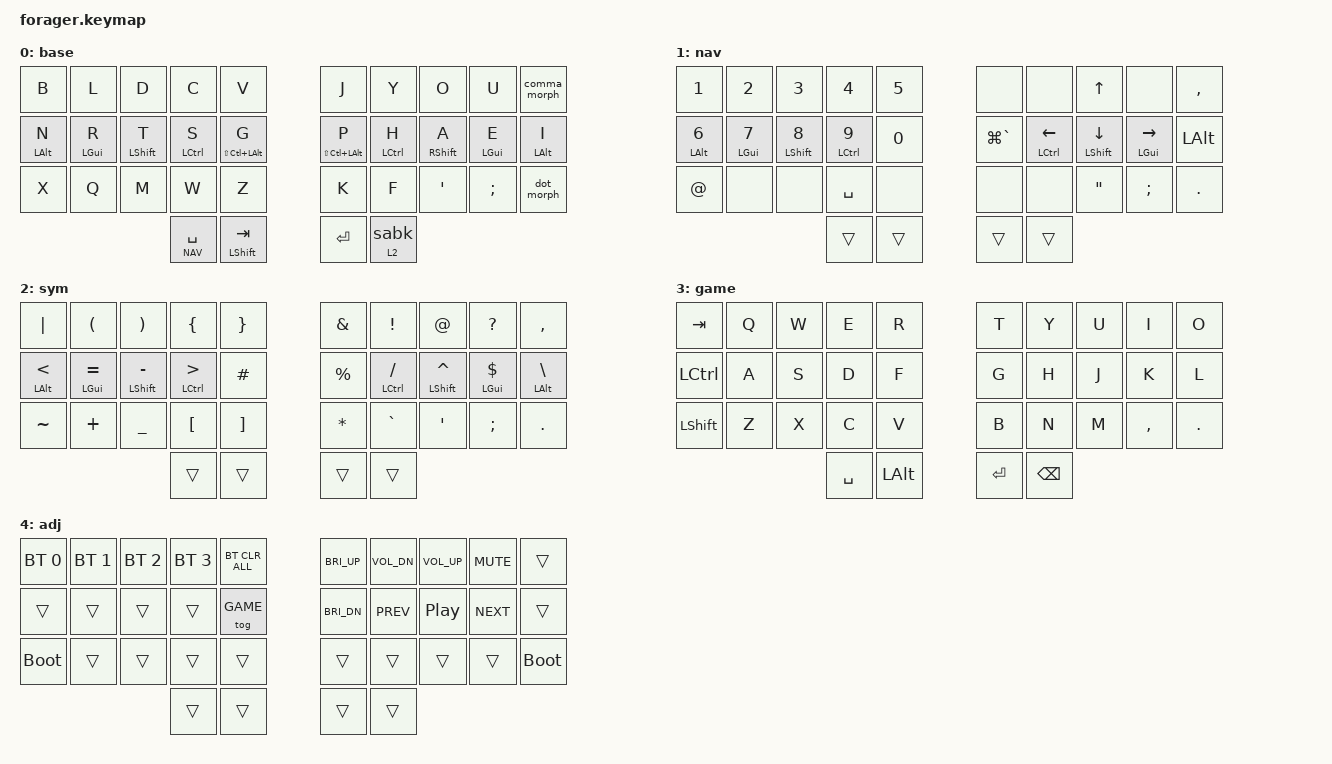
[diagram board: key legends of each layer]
#include <behaviors.dtsi>
#include <dt-bindings/zmk/keys.h>
#include <dt-bindings/zmk/bt.h>
#include <dt-bindings/zmk/outputs.h>

#define BASE 0
#define NAV  1
#define SYM  2
#define GAME 3
#define ADJ  4

#define AS(keycode) &as LS(keycode) keycode     // Autoshift Macro
#define MEH LS(LC(LALT))

/ {
    behaviors {
        as: auto_shift {
            compatible = "zmk,behavior-hold-tap";
            #binding-cells = <2>;
            tapping-term-ms = <250>;
            require-prior-idle-ms = <100>;
            flavor = "tap-preferred";
            bindings = <&kp>, <&kp>;
        };
        ht: hold_tap {
            compatible = "zmk,behavior-hold-tap";
            #binding-cells = <2>;
            tapping-term-ms = <180>;
            quick-tap-ms = <175>;
            require-prior-idle-ms = <150>;
            flavor = "balanced";
            bindings = <&kp>, <&kp>;
        };
        sabk: shift_to_alt_backspace {
            compatible = "zmk,behavior-mod-morph";
            #binding-cells = <0>;
            bindings = <&kp BSPC>, <&kp LA(BSPC)>;
            mods = <(MOD_LSFT|MOD_RSFT)>;
        };
        smart_shift: smart_shift {
            compatible = "zmk,behavior-mod-morph";
            #binding-cells = <0>;
            bindings = <&sk LSHFT>, <&caps_word>;
            mods = <(MOD_LSFT|MOD_RSFT)>;
        };
        comma_morph: comma_question {
            compatible = "zmk,behavior-mod-morph";
            #binding-cells = <0>;
            bindings = <&kp COMMA>, <&kp QMARK>;   // shift -> ?
            mods = <(MOD_LSFT|MOD_RSFT)>;
        };
        dot_morph: dot_slash {
            compatible = "zmk,behavior-mod-morph";
            #binding-cells = <0>;
            bindings = <&kp DOT>, <&kp FSLH>;      // shift -> / (shift stripped)
            mods = <(MOD_LSFT|MOD_RSFT)>;
        };
        sym_bspc: left_thumb_hold_tap {
            compatible = "zmk,behavior-hold-tap";
            #binding-cells = <2>;
            flavor = "tap-preferred";
            tapping-term-ms = <150>;
            quick-tap-ms = <200>;
            bindings = <&mo>, <&sabk>;
        };
        lhm: left_homerow_mods {
            compatible = "zmk,behavior-hold-tap";
            #binding-cells = <2>;
            flavor = "balanced";
            tapping-term-ms = <280>;
            quick-tap-ms = <175>;
            require-prior-idle-ms = <150>;
            bindings = <&kp>, <&kp>;
            hold-trigger-key-positions = <5 6 7 8 9 15 16 17 18 19 25 26 27 28 29 30 31 32 33>;
            hold-trigger-on-release;
        };
        rhm: right_homerow_mods {
            compatible = "zmk,behavior-hold-tap";
            #binding-cells = <2>;
            flavor = "balanced";
            tapping-term-ms = <280>;
            quick-tap-ms = <175>;
            require-prior-idle-ms = <150>;
            bindings = <&kp>, <&kp>;
            hold-trigger-key-positions = <0 1 2 3 4 10 11 12 13 14 20 21 22 23 24 30 31 32 33>;
            hold-trigger-on-release;
        };
    };

    combos {
        compatible = "zmk,combos";

        combo_hyper_j {              // B + V
            timeout-ms = <50>;
            key-positions = <0 4>;
            bindings = <&kp LA(LG(LC(LS(J))))>;
            layers = <BASE>;
        };
        combo_osl_sym_l {            // Q + M
            timeout-ms = <50>;
            key-positions = <21 22>;
            bindings = <&sl SYM>;
            layers = <BASE>;
        };
        combo_osl_sym_r {            // ' + ;
            timeout-ms = <50>;
            key-positions = <27 28>;
            bindings = <&sl SYM>;
            layers = <BASE>;
        };
        combo_escape {               // R + T + W
            timeout-ms = <50>;
            key-positions = <11 12 23>;
            bindings = <&kp ESC>;
            layers = <BASE>;
        };
        combo_escape_ld {            // L + D
            timeout-ms = <35>;
            require-prior-idle-ms = <150>;
            key-positions = <1 2>;
            bindings = <&kp ESC>;
            layers = <BASE>;
        };
        combo_caps_l {               // M + W
            timeout-ms = <50>;
            key-positions = <22 23>;
            bindings = <&sk LSHFT>;
            layers = <BASE>;
        };
        combo_caps_r {               // F + '
            timeout-ms = <50>;
            key-positions = <26 27>;
            bindings = <&sk LSHFT>;
            layers = <BASE>;
        };
        combo_adj {                  // inner thumbs (also available from the game layer so you can exit it)
            timeout-ms = <50>;
            key-positions = <31 32>;
            bindings = <&mo ADJ>;
            layers = <BASE GAME>;
        };
        combo_caps_word_l {          // X + Q
            timeout-ms = <50>;
            key-positions = <20 21>;
            bindings = <&caps_word>;
            layers = <BASE>;
        };
        combo_caps_word_r {          // ; + .
            timeout-ms = <50>;
            key-positions = <28 29>;
            bindings = <&caps_word>;
            layers = <BASE>;
        };
    };

    keymap {
        compatible = "zmk,keymap";

        base {
            bindings = <
            &kp B           &kp L           &kp D           &kp C           &kp V                                           &kp J           &kp Y           &kp O           &kp U           &comma_morph
            &lhm LALT N     &lhm LGUI R     &lhm LSHFT T    &lhm LCTRL S    &lhm MEH G                                      &rhm MEH P      &rhm LCTRL H    &rhm RSHFT A    &rhm LGUI E     &rhm LALT I
            &kp X           &kp Q           &kp M           &kp W           &kp Z                                           &kp K           &kp F           &kp SQT         &kp SEMI        &dot_morph
                                                                            &lt NAV SPACE   &mt LSHFT TAB   &kp ENTER       &sym_bspc 2 0
            >;
        };

        nav {
            bindings = <
            &kp N1          &kp N2          &kp N3          &kp N4          &kp N5                                          &none           &none           &kp UP          &none           &kp COMMA
            &ht LALT N6     &ht LGUI N7     &ht LSHFT N8    &ht LCTRL N9    &kp N0                                          &kp LG(GRAVE)   &ht LCTRL LEFT  &ht LSHFT DOWN  &ht LGUI RIGHT  &kp LALT
            &kp AT          &none           &none           &kp SPACE       &none                                           &none           &none           &kp DQT         &kp SEMI        &kp DOT
                                                                            &trans          &trans          &trans          &trans
            >;
        };

        sym {
            bindings = <
            &kp PIPE        &kp LPAR        &kp RPAR        &kp LBRC        &kp RBRC                                        &kp AMPS        &kp EXCL        &kp AT          &kp QMARK       &kp COMMA
            &ht LALT LESS_THAN  &ht LGUI EQUAL  &ht LSHFT MINUS  &ht LCTRL GREATER_THAN  &kp HASH                           &kp PRCNT       &ht LCTRL FSLH  &ht LSHFT CARET &ht LGUI DLLR   &ht LALT BSLH
            &kp TILDE       &kp PLUS        &kp UNDER       &kp LBKT        &kp RBKT                                        &kp ASTRK       &kp GRAVE       &kp SQT         &kp SEMI        &kp DOT
                                                                            &trans          &trans          &trans          &trans
            >;
        };

        game {
            bindings = <
            &kp TAB         &kp Q           &kp W           &kp E           &kp R                                           &kp T           &kp Y           &kp U           &kp I           &kp O
            &kp LCTRL       &kp A           &kp S           &kp D           &kp F                                           &kp G           &kp H           &kp J           &kp K           &kp L
            &kp LSHFT       &kp Z           &kp X           &kp C           &kp V                                           &kp B           &kp N           &kp M           &kp COMMA       &kp DOT
                                                                            &kp SPACE       &kp LALT        &kp ENTER       &kp BSPC
            >;
        };

        adj {
            bindings = <
            &bt BT_SEL 0    &bt BT_SEL 1    &bt BT_SEL 2    &bt BT_SEL 3    &bt BT_CLR_ALL                                  &kp C_BRI_UP    &kp C_VOL_DN    &kp C_VOL_UP    &kp C_MUTE      &trans
            &trans          &trans          &trans          &trans          &tog GAME                                       &kp C_BRI_DN    &kp C_PREV      &kp C_PP        &kp C_NEXT      &trans
            &bootloader     &trans          &trans          &trans          &trans                                          &trans          &trans          &trans          &trans          &bootloader
                                                                            &trans          &trans          &trans          &trans
            >;
        };
    };
};

&lt {
    // require-prior-idle-ms = <100>;
    tapping-term-ms = <150>;
    quick-tap-ms = <200>;
};

&mt {
    quick-tap-ms = <200>;
};

&sk {
    release-after-ms = <500>;
    quick-release;
};
